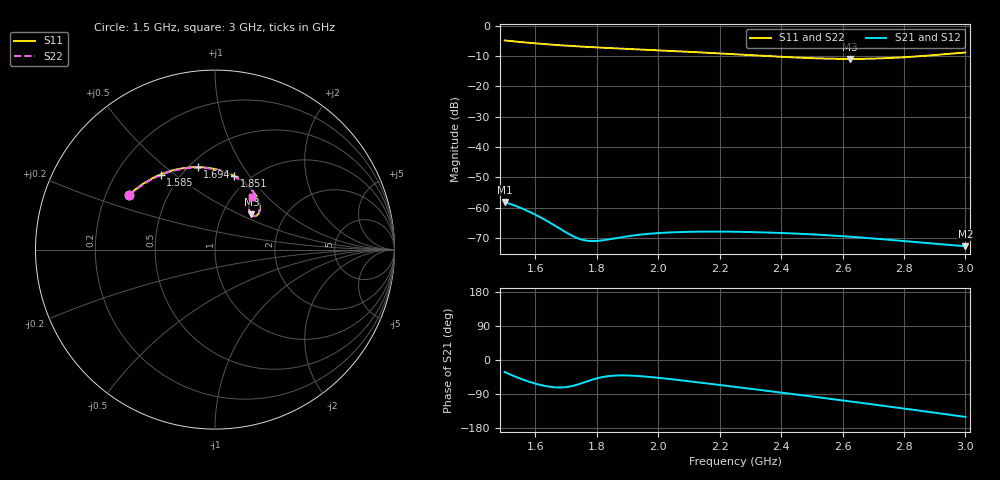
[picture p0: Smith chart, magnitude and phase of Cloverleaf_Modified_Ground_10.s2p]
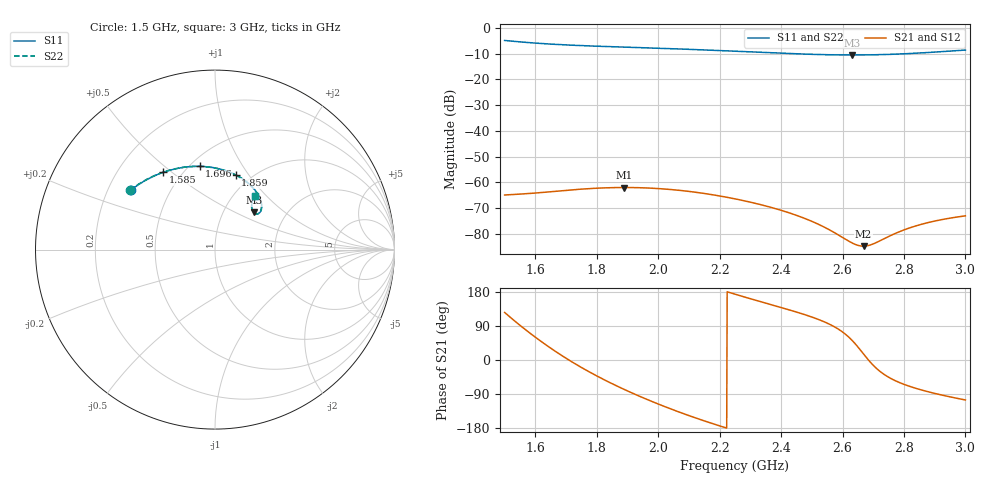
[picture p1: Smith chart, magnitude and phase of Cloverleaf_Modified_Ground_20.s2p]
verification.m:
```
%% Verification
%  This script compares simulation data of the same antenna for different
%  solver algorithms and/or mesh sizes.
%
%  Written by Wietse Bouwmeester
%  Date: 2020-01-14

clear;
close all;

filenames = [ {'\lambda/10'} {'Cloverleaf_Modified_Ground_10.s2p'} {'Cloverleaf_Modified_Ground_10_15.txt'} {'Cloverleaf_Modified_Ground_10_3.txt'}
              {'\lambda/20'} {'Cloverleaf_Modified_Ground_20.s2p'} {'Cloverleaf_Modified_Ground_20_15.txt'} {'Cloverleaf_Modified_Ground_20_3.txt'}
              {'\lambda/30'} {'Cloverleaf_Modified_Ground_30.s2p'} {'Cloverleaf_Modified_Ground_30_15.txt'} {'Cloverleaf_Modified_Ground_30_3.txt'}
             ];
Z_0 = 100;


fig_z = figure;
fig_ff_15 = figure;
fig_ff_3 = figure;
for i_files = 1:size(filenames,1)
    % Load touchstone
    touchstone = nport(cell2mat(filenames(i_files,2)));
    
    f   = touchstone.NetworkData.Frequencies;
    S11 = squeeze(touchstone.NetworkData.Parameters(1,1,:));
    
    % Calculate impedance
    Z = (S11+1)./(1-S11).*Z_0;
    
    % Plot impedances
    figure(fig_z);
    subplot(2,1,1);  hold on;
    plot(f, real(Z), 'DisplayName', cell2mat(filenames(i_files,1)));
    
    grid on; legend;
    xlabel('Frequency [Hz]'); ylabel('Re(Input Impedance) [\Omega]');
    title('Real Part of Input Impedance');
    
    subplot(2,1,2); hold on;
    plot(f, imag(Z), 'DisplayName', cell2mat(filenames(i_files,1)));
    
    grid on; legend;
    xlabel('Frequency [Hz]'); ylabel('Im(Input Impedance) [\Omega]');
    title('Imaginary Part of Input Impedance');
    
    % Load far fields
    fid = fopen(cell2mat(filenames(i_files, 3)));

    % Discard first two lines
    fgets(fid); fgets(fid);

    % Load data
    FF = fscanf(fid, '%f %f %f %f %f %f %f %f\n', [8, Inf]);

    % Close file
    fclose(fid);
    
    % Setup theta and phi
    theta = deg2rad(FF(1,:)).';
    phi = deg2rad(FF(2,:)).';

    % Setup E_theta and E_phi
    E_theta = FF(4,:).*exp(1j*deg2rad(FF(5,:)));
    E_phi   = FF(6,:).*exp(1j*deg2rad(FF(7,:)));

    % Find number of unique theta and phi coordinates
    N_theta = length(unique(theta));
    N_phi = length(unique(phi));

    % Calculate absolute values of E-fields
    E_abs = sqrt(abs(E_theta).^2+abs(E_phi).^2);
    
    % Normalise
    E_abs = E_abs./max(E_abs);
    
    % Reshape
    theta_res = reshape(theta, [N_theta N_phi]);
    phi_res   = reshape(phi, [N_theta N_phi]);
    E_abs_res = reshape(E_abs, [N_theta N_phi]);

    % Plot far fields at 1.5 GHz
    figure(fig_ff_15);
    subplot(2,1,1); hold on;
    plot(rad2deg(theta_res(:,1)), E_abs_res(:,1), 'DisplayName', cell2mat(filenames(i_files,1)));
    
    grid on; xlabel('\theta'); ylabel('|E|'); title(['\phi = ' num2str(rad2deg(phi_res(1,1)))]);
    legend; xlim([0 90]);
    
    subplot(2,1,2); hold on;
    plot(rad2deg(theta_res(:,91)), E_abs_res(:,91), 'DisplayName', cell2mat(filenames(i_files,1)));
    
    grid on; xlabel('\theta'); ylabel('|E|'); title(['\phi = ' num2str(rad2deg(phi_res(1,91)))]);
    legend; xlim([0 90]);
    
    sgtitle('Normalised E-field cuts @ 1.5 GHz');
    
    % Same for 3 GHz
    fid = fopen(cell2mat(filenames(i_files, 4)));

    % Discard first two lines
    fgets(fid); fgets(fid);

    % Load data
    FF = fscanf(fid, '%f %f %f %f %f %f %f %f\n', [8, Inf]);

    % Close file
    fclose(fid);
    
    % Setup theta and phi
    theta = deg2rad(FF(1,:)).';
    phi = deg2rad(FF(2,:)).';

    % Setup E_theta and E_phi
    E_theta = FF(4,:).*exp(1j*deg2rad(FF(5,:)));
    E_phi   = FF(6,:).*exp(1j*deg2rad(FF(7,:)));

    % Find number of unique theta and phi coordinates
    N_theta = length(unique(theta));
    N_phi = length(unique(phi));

    % Calculate absolute values of E-fields
    E_abs = sqrt(abs(E_theta).^2+abs(E_phi).^2);
    
    % Reshape
    theta_res = reshape(theta, [N_theta N_phi]);
    phi_res   = reshape(phi, [N_theta N_phi]);
    E_abs_res = reshape(E_abs, [N_theta N_phi]);

    % Plot far fields at 1.5 GHz
    figure(fig_ff_3);
    subplot(2,1,1); hold on;
    plot(rad2deg(theta_res(:,1)), E_abs_res(:,1), 'DisplayName', cell2mat(filenames(i_files,1)));
    
    grid on; xlabel('\theta'); ylabel('|E|'); title(['\phi = ' num2str(rad2deg(phi_res(1,1)))]);
    legend; xlim([0 90]);
    
    subplot(2,1,2); hold on;
    plot(rad2deg(theta_res(:,91)), E_abs_res(:,91), 'DisplayName', cell2mat(filenames(i_files,1)));
    
    grid on; xlabel('\theta'); ylabel('|E|'); title(['\phi = ' num2str(rad2deg(phi_res(1,91)))]);
    legend; xlim([0 90]);
    
    sgtitle('Normalised E-field cuts @ 3 GHz');
end

%% Feko comparison
% Feko filenames
feko_names = [%{'Feko \lambda/10'} {'cloverleaf_ground_plane_10_feko.s1p'} {'feko_10.ffe'}
              %{'Feko \lambda/20'} {'cloverleaf_ground_plane_20_feko.s1p'} {'feko_20.ffe'}
              %{'Feko \lambda/30'} {'cloverleaf_ground_plane_30_feko.s1p'} {'feko_30.ffe'}
              %{'Feko fine'} {'cloverleaf_ground_plane_fine_feko.s1p'} {'feko_fine.ffe'}
              {'Standard'} {'cloverleaf_ground_spherical_standard.s1p'} {'ff_standard.ffe'}
              {'Coarse'} {'cloverleaf_ground_spherical_coarse.s1p'} {'ff_coarse.ffe'}
              ];
cst_index = [%3
            ];

% Initialize Feko comparison figures
phi_cut_1 = 0;
phi_cut_2 = deg2rad(90);
ff_frequency = 3e9;

fig_z_feko = figure;
fig_ff_15_feko = figure;
for i_feko = 1:size(feko_names, 1)
    % Reset E_theta E_phi theta and phi
    E_theta = []; E_phi = []; theta = []; phi = [];
    
    % Load touchstone
    touchstone = nport(cell2mat(feko_names(i_feko,2)));
    
    f   = touchstone.NetworkData.Frequencies;
    S11 = squeeze(touchstone.NetworkData.Parameters(1,1,:));
    
    % Calculate impedance and subtract load
    Z = (S11+1)./(1-S11).*Z_0 - Z_0;
    
    % Plot impedances
    figure(fig_z_feko);
    subplot(2,1,1);  hold on;
    plot(f, real(Z), 'DisplayName', [cell2mat(feko_names(i_feko,1))]);
    
    grid on; legend;
    xlabel('Frequency [Hz]'); ylabel('Re(Input Impedance) [\Omega]');
    title('Real Part of Input Impedance');
    
    subplot(2,1,2); hold on;
    plot(f, imag(Z), 'DisplayName', [cell2mat(feko_names(i_feko,1))]);
    
    grid on; legend;
    xlabel('Frequency [Hz]'); ylabel('Im(Input Impedance) [\Omega]');
    title('Imaginary Part of Input Impedance');
    
    % Open far field file
    fid = fopen(cell2mat(feko_names(i_feko,3)));
    
    % Discard first 6 header lines
    for j = 1:6
        fgets(fid);            
    end
    
    % Discard first two lines
    fgets(fid); fgets(fid);

    % Read frequency
    i_freq = 1;
    FF_f(i_feko) = fscanf(fid, '#Frequency: %f\n');

    % Skip more lines
    for j = 1:6
        fgets(fid);
    end
    
    endfile = false; Nline = 1;
    while endfile == false
        % Load data
        FF = fscanf(fid, '%f %f %f %f %f %f %f %f %f\n', [9, 1]);

        if isempty(FF)
            if feof(fid) == true
                break;                
            end
            
            i_freq = i_freq+1;
            Nline = 1;
            
            % Discard first two lines
            fgets(fid); fgets(fid);

            % Read frequency
            FF_f(i_freq) = fscanf(fid, '#Frequency: %f\n');

            % Skip more lines
            for j = 1:6
                fgets(fid);
            end
        else
            E_theta(i_freq, Nline) = FF(3)+1j.*FF(4);
            E_phi(i_freq, Nline)   = FF(5)+1j.*FF(6);
            
            theta(i_freq, Nline) = deg2rad(FF(1));
            phi(i_freq, Nline) = deg2rad(FF(2));
            
            Nline = Nline+1;
        end

    end
    
    % Close file
    fclose(fid);    
    
    % Calculate E_abs
    E_abs = sqrt(abs(E_theta).^2+abs(E_phi).^2);
    
    % Far fields
    % Find index that is closest to frequency
    index_f = find(abs(FF_f - ff_frequency) == min(abs(FF_f - ff_frequency)));
    
    % Find number of unique theta and phi coordinates
    N_theta = length(unique(theta(index_f, :)));
    N_phi = length(unique(phi(index_f, :)));
    
    % Reshape everything
    theta_res = reshape(theta(index_f, :), [N_theta N_phi]);
    phi_res   = reshape(phi(index_f, :), [N_theta N_phi]);
    
    E_abs_res = reshape(E_abs(index_f, :), [N_theta N_phi]);
    
    % Normalise
    E_abs_res = E_abs_res./max(max(E_abs_res));
    
    % Find indices of phi cuts
    [~,index_phi_1] = find(abs(phi_res - phi_cut_1) == min(min(abs(phi_res - phi_cut_1))), 1);
    [~,index_phi_2] = find(abs(phi_res - phi_cut_2) == min(min(abs(phi_res - phi_cut_2))), 1);
    
    % Plot radiation pattern
    figure(fig_ff_15_feko); subplot(2,1,1); hold on;  
    plot(rad2deg(theta_res(:,index_phi_1)), E_abs_res(:,index_phi_1), 'DisplayName', cell2mat(feko_names(i_feko,1)));
    
    grid on; xlabel('\theta'); ylabel('|E|'); title(['\phi = ' num2str(rad2deg(phi_res(1,index_phi_1)))]);
    legend; xlim([0 180]);
    
    subplot(2,1,2); hold on;
    plot(rad2deg(theta_res(:,index_phi_2)), E_abs_res(:,index_phi_2), 'DisplayName', cell2mat(feko_names(i_feko,1)));

    grid on; xlabel('\theta'); ylabel('|E|'); title(['\phi = ' num2str(rad2deg(phi_res(1,index_phi_2)))]);
    legend; xlim([0 180]);
    
    sgtitle('Normalised E-field cuts @ 3 GHz');
end

% Load and plot the CST Results in the same figures
for i_files = cst_index
    % Load touchstone
    touchstone = nport(cell2mat(filenames(i_files,2)));
    
    f   = touchstone.NetworkData.Frequencies;
    S11 = squeeze(touchstone.NetworkData.Parameters(1,1,:));
    
    % Calculate impedance
    Z = (S11+1)./(1-S11).*Z_0;
    
    % Plot impedances
    figure(fig_z_feko);
    subplot(2,1,1);  hold on;
    plot(f, real(Z), 'DisplayName', ['CST ' cell2mat(filenames(i_files,1))]);
    
    grid on; legend;
    xlabel('Frequency [Hz]'); ylabel('Re(Input Impedance) [\Omega]');
    title('Real Part of Input Impedance');
    
    subplot(2,1,2); hold on;
    plot(f, imag(Z), 'DisplayName', ['CST ' cell2mat(filenames(i_files,1))]);
    
    grid on; legend;
    xlabel('Frequency [Hz]'); ylabel('Im(Input Impedance) [\Omega]');
    title('Imaginary Part of Input Impedance');
    
    % Load far fields
    fid = fopen(cell2mat(filenames(i_files, 3)));

    % Discard first two lines
    fgets(fid); fgets(fid);

    % Load data
    FF = fscanf(fid, '%f %f %f %f %f %f %f %f\n', [8, Inf]);

    % Close file
    fclose(fid);
    
    % Setup theta and phi
    theta = deg2rad(FF(1,:)).';
    phi = deg2rad(FF(2,:)).';

    % Setup E_theta and E_phi
    E_theta = FF(4,:).*exp(1j*deg2rad(FF(5,:)));
    E_phi   = FF(6,:).*exp(1j*deg2rad(FF(7,:)));

    % Find number of unique theta and phi coordinates
    N_theta = length(unique(theta));
    N_phi = length(unique(phi));

    % Calculate absolute values of E-fields
    E_abs = sqrt(abs(E_theta).^2+abs(E_phi).^2);
    
    % Normalise
    E_abs = E_abs./max(E_abs);
    
    % Reshape
    theta_res = reshape(theta, [N_theta N_phi]);
    phi_res   = reshape(phi, [N_theta N_phi]);
    E_abs_res = reshape(E_abs, [N_theta N_phi]);

    % Plot far fields at 1.5 GHz
    figure(fig_ff_15_feko);
    subplot(2,1,1); hold on;
    plot(rad2deg(theta_res(:,1)), E_abs_res(:,1), 'DisplayName', ['CST ' cell2mat(filenames(i_files,1))]);
    
    grid on; xlabel('\theta'); ylabel('|E|'); title(['\phi = ' num2str(rad2deg(phi_res(1,1)))]);
    legend; xlim([0 90]);
    
    subplot(2,1,2); hold on;
    plot(rad2deg(theta_res(:,91)), E_abs_res(:,91), 'DisplayName', ['CST ' cell2mat(filenames(i_files,1))]);
    
    grid on; xlabel('\theta'); ylabel('|E|'); title(['\phi = ' num2str(rad2deg(phi_res(1,91)))]);
    legend; xlim([0 90]);
    
    sgtitle('Normalised E-field cuts @ 1.5 GHz');    
end
```
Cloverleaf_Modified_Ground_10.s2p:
! TOUCHSTONE file generated by CST MICROWAVE STUDIO
! Date and time: Tue Jan 14 09:22:22 2020
! Project name: Cloverleaf_Modified_Ground_10.cst
! Parameters = {A=0.0005; Dgp=0.033; Lgp=0.1; Lhorn=0.03; Lmax=0.015; Lmin=0.001; b=90.2683; dLhorn=1000}
! Header version: 2015
! Port assignment regex: !\s*Touchstone port\s*([0-9]+)\s*=\s*CST MWS port\s*([0-9]+)\s*\(\"(.*)\"\)(\s*mode\s*([0-9]+))?.*
! Touchstone port assignment:
! Touchstone port 1 = CST MWS port 1 ("")
! Touchstone port 2 = CST MWS port 2 ("")
# Hz S MA R 100
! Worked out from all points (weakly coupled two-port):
!   1003 points, 1.5 GHz to 3 GHz, reference 100 ohm
!   highest |S21| = -58.14 dB at 1.5 GHz (marker M1); lowest = -72.7 dB at 3 GHz (marker M2)
!   lowest |S11| = -11.0 dB at 2.625 GHz (marker M3), VSWR 1.79, Z = 137 + j58.2 ohm
!   |S11| at or under -10 dB: 2.347 GHz to 2.864 GHz (517.7 MHz wide, 19.9 % of centre)
!   |S22| runs from -11.0 to -4.9 dB; largest |S21 - S12| = 2e-06
!   S11 on the Smith chart (normalised r, x): 1.5 GHz: 0.30, +0.27; 1.585 GHz: 0.39, +0.45; 1.694 GHz: 0.55, +0.65; 1.851 GHz: 0.85, +0.85; 3 GHz: 1.22, +0.83
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1.5e9  0.5684 147.8  0.001238 -31.5  0.00124 -31.6  0.566 147.8
1.5855e9  0.5168 126.0  0.0008336 -58.8  0.0008337 -58.8  0.514 126.1
1.6935e9  0.4696 101.9  0.0004095 -72.0  0.0004092 -72.0  0.4674 102.1
1.7325e9  0.4563 94.4  0.000322 -66.0  0.0003209 -66.0  0.4544 94.6
1.7655e9  0.4461 88.5  0.0002871 -57.2  0.0002858 -57.1  0.4445 88.7
1.851e9  0.4236 75.3  0.0003079 -41.5  0.0003078 -41.3  0.4223 75.4
2.0145e9  0.3877 56.9  0.0003856 -48.2  0.0003851 -48.2  0.3865 56.8
2.25e9  0.3367 42.2  0.0004012 -70.9  0.0003997 -70.9  0.3352 42.0
2.625e9  0.2822 44.0  0.0003323 -109.3  0.0003325 -109.3  0.2803 43.8
2.7855e9  0.2976 50.4  0.0002862 -126.5  0.000286 -126.6  0.2953 50.3
3e9  0.3606 54.6  0.0002323 -150.2  0.0002321 -149.7  0.3579 54.6
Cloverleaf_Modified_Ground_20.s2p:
! TOUCHSTONE file generated by CST MICROWAVE STUDIO
! Date and time: Tue Jan 14 09:39:21 2020
! Project name: Cloverleaf_Modified_Ground_20.cst
! Parameters = {A=0.0005; Dgp=0.033; Lgp=0.1; Lhorn=0.03; Lmax=0.015; Lmin=0.001; b=90.2683; dLhorn=1000}
! Header version: 2015
! Port assignment regex: !\s*Touchstone port\s*([0-9]+)\s*=\s*CST MWS port\s*([0-9]+)\s*\(\"(.*)\"\)(\s*mode\s*([0-9]+))?.*
! Touchstone port assignment:
! Touchstone port 1 = CST MWS port 1 ("")
! Touchstone port 2 = CST MWS port 2 ("")
# Hz S MA R 100
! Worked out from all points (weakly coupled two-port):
!   1003 points, 1.5 GHz to 3 GHz, reference 100 ohm
!   highest |S21| = -62.03 dB at 1.89 GHz (marker M1); lowest = -84.9 dB at 2.668 GHz (marker M2)
!   lowest |S11| = -10.5 dB at 2.632 GHz (marker M3), VSWR 1.86, Z = 139 + j63.1 ohm
!   |S11| at or under -10 dB: 2.448 GHz to 2.8 GHz (352.5 MHz wide, 13.4 % of centre)
!   |S22| runs from -10.5 to -4.8 dB; largest |S21 - S12| = 7.9e-07
!   S11 on the Smith chart (normalised r, x): 1.5 GHz: 0.29, +0.29; 1.585 GHz: 0.40, +0.47; 1.696 GHz: 0.56, +0.67; 1.859 GHz: 0.85, +0.87; 3 GHz: 1.24, +0.87
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1.5e9  0.5747 145.0  0.0005658 125.5  0.0005659 125.4  0.5773 145.0
1.5855e9  0.5182 123.9  0.0006084 69.0  0.0006085 69.0  0.5193 123.8
1.6965e9  0.4716 100.5  0.0006937 6.4  0.0006944 6.4  0.4713 100.4
1.8585e9  0.4324 74.6  0.0007885 -65.9  0.0007886 -65.9  0.4308 74.5
1.89e9  0.4263 70.6  0.0007916 -77.9  0.0007916 -77.9  0.4246 70.5
2.25e9  0.3549 42.8  0.0004763 173.7  0.0004766 173.7  0.353 42.8
2.58e9  0.3012 42.0  9.969e-05 84.7  9.977e-05 84.7  0.3 42.1
2.6325e9  0.2997 43.7  6.543e-05 50.7  6.553e-05 50.7  0.2986 43.8
2.6685e9  0.3004 45.0  5.716e-05 15.8  5.727e-05 15.8  0.2993 45.0
2.769e9  0.3106 48.7  9.944e-05 -53.6  9.942e-05 -53.5  0.3096 48.7
3e9  0.374 53.4  0.0002223 -105.5  0.0002218 -105.4  0.373 53.4
